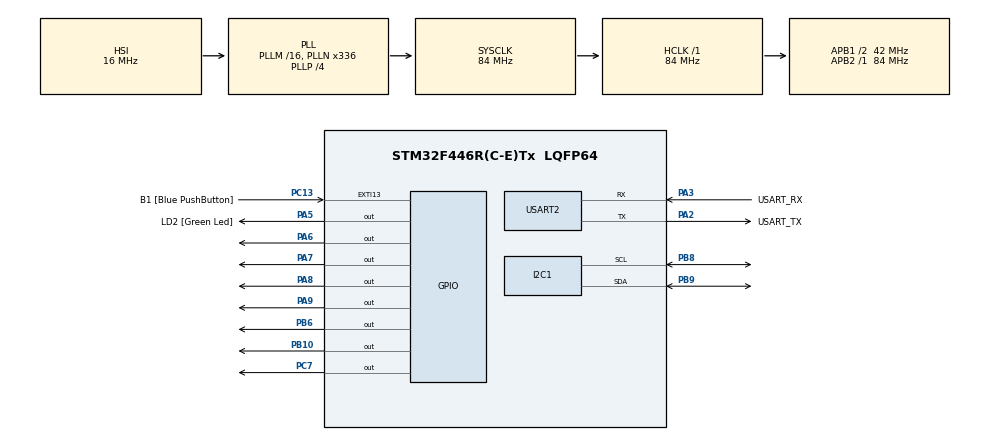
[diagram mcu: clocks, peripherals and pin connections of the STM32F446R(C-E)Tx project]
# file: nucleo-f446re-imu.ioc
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FREERTOS.Tasks01=lcdTask,1,128,startLCDTask,Default,NULL,Dynamic,NULL,NULL;imuTask,0,128,startIMUTask,Default,NULL,Dynamic,NULL,NULL;uartTask,0,128,startUARTTask,Default,NULL,Dynamic,NULL,NULL
FREERTOS.configENABLE_FPU=1
Mcu.Family=STM32F4
Mcu.Name=STM32F446R(C-E)Tx
Mcu.Package=LQFP64
NVIC.PriorityGroup=NVIC_PRIORITYGROUP_4
NVIC.TIM6_DAC_IRQn=true\:15\:0\:false\:false\:true\:false\:false\:true\:true
NVIC.TimeBase=TIM6_DAC_IRQn
NVIC.TimeBaseIP=TIM6
PA13.GPIO_Label=TMS
PA13.Mode=Serial_Wire
PA13.Signal=SYS_JTMS-SWDIO
PA14.GPIO_Label=TCK
PA14.Mode=Serial_Wire
PA14.Signal=SYS_JTCK-SWCLK
PA2.GPIO_Label=USART_TX
PA2.Mode=Asynchronous
PA2.Signal=USART2_TX
PA3.GPIO_Label=USART_RX
PA3.Mode=Asynchronous
PA3.Signal=USART2_RX
PA5.GPIO_Label=LD2 [Green Led]
PA5.Signal=GPIO_Output
PA6.Signal=GPIO_Output
PA7.Signal=GPIO_Output
PA8.Signal=GPIO_Output
PA9.Signal=GPIO_Output
PB10.Signal=GPIO_Output
PB3.GPIO_Label=SWO
PB3.Signal=SYS_JTDO-SWO
PB6.Signal=GPIO_Output
PB8.Mode=I2C
PB8.Signal=I2C1_SCL
PB9.Mode=I2C
PB9.Signal=I2C1_SDA
PC13.GPIO_Label=B1 [Blue PushButton]
PC13.GPIO_ModeDefaultEXTI=GPIO_MODE_IT_FALLING
PC13.Signal=GPXTI13
PC14-OSC32_IN.Mode=LSE-External-Oscillator
PC14-OSC32_IN.Signal=RCC_OSC32_IN
PC15-OSC32_OUT.Mode=LSE-External-Oscillator
PC15-OSC32_OUT.Signal=RCC_OSC32_OUT
PC7.Signal=GPIO_Output
PH0-OSC_IN.Mode=HSE-External-Oscillator
PH0-OSC_IN.Signal=RCC_OSC_IN
PH1-OSC_OUT.Mode=HSE-External-Oscillator
PH1-OSC_OUT.Signal=RCC_OSC_OUT
ProjectManager.HeapSize=0x200
ProjectManager.StackSize=0x400
ProjectManager.TargetToolchain=STM32CubeIDE
RCC.48MHZClocksFreq_Value=84000000
RCC.AHBFreq_Value=84000000
RCC.APB1CLKDivider=RCC_HCLK_DIV2
RCC.APB1Freq_Value=42000000
RCC.APB1TimFreq_Value=84000000
RCC.APB2Freq_Value=84000000
RCC.APB2TimFreq_Value=84000000
RCC.CortexFreq_Value=84000000
RCC.FLatency-AdvancedSettings=FLASH_LATENCY_2
RCC.HCLKFreq_Value=84000000
RCC.HSE_VALUE=8000000
RCC.HSI_VALUE=16000000
RCC.PLLN=336
RCC.PLLP=RCC_PLLP_DIV4
RCC.SYSCLKFreq_VALUE=84000000
RCC.SYSCLKSource=RCC_SYSCLKSOURCE_PLLCLK
RCC.USBFreq_Value=168000000
RCC.VCOOutputFreq_Value=336000000
TIM1.Period=0xFFFF-1
TIM1.Prescaler=84-1
USART2.VirtualMode=VM_ASYNC
VP_FREERTOS_VS_CMSIS_V1.Mode=CMSIS_V1
VP_SYS_VS_tim6.Mode=TIM6
VP_TIM1_VS_ClockSourceINT.Mode=Internal
board=NUCLEO-F446RE

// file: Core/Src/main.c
/* USER CODE BEGIN Header */
/**
  ******************************************************************************
  * @file           : main.c
  * @brief          : Main program body
  ******************************************************************************
  * @attention
  *
  * Copyright (c) 2024 STMicroelectronics.
  * All rights reserved.
  *
  * This software is licensed under terms that can be found in the LICENSE file
  * in the root directory of this software component.
  * If no LICENSE file comes with this software, it is provided AS-IS.
  *
  ******************************************************************************
  */
/* USER CODE END Header */
#include "main.h"
//#include "cmsis_os.h"

/* USER CODE BEGIN Includes */
#include <string.h>
#include <stdio.h>
#include <LCD1602.h>
#include <MPU6050.h>
#include <stdbool.h>

#include "FreeRTOS.h"
#include "task.h"
#include "timers.h"
#include "queue.h"
#include "semphr.h"
#include "event_groups.h"
/* USER CODE END Includes */

I2C_HandleTypeDef hi2c1;

TIM_HandleTypeDef htim1;

UART_HandleTypeDef huart2;

void SystemClock_Config(void);
static void MX_GPIO_Init(void);
static void MX_USART2_UART_Init(void);
static void MX_I2C1_Init(void);
static void MX_TIM1_Init(void);

/* USER CODE BEGIN 0 */

//~~~~~~~~~~~~~~~~~~~~~~~~~~~~~~~~~~~~~~~~~~~
// Queue Handler
//~~~~~~~~~~~~~~~~~~~~~~~~~~~~~~~~~~~~~~~~~~~
xQueueHandle St_Queue_Handler;
//~~~~~~~~~~~~~~~~~~~~~~~~~~~~~~~~~~~~~~~~~~~
// Task Handlers
//~~~~~~~~~~~~~~~~~~~~~~~~~~~~~~~~~~~~~~~~~~~
xTaskHandle IMU_Measure_Task_Handler;
xTaskHandle LCD_Display_Task_Handler;
xTaskHandle Initialisation_Task_Handler;
//xTaskHandle UART_Display_Task_Handler;
//~~~~~~~~~~~~~~~~~~~~~~~~~~~~~~~~~~~~~~~~~~~
// Task Functions
//~~~~~~~~~~~~~~~~~~~~~~~~~~~~~~~~~~~~~~~~~~~
void IMU_Measure_Task(void *argument);
void LCD_Display_Task(void *argument);
void Initialisation_Task(void *argument);
//void UART_Display_Task(void *argument);

// malloc and free wrappers to avoid issues with sprintf
void *malloc( size_t xBytes )
{
     return pvPortMalloc( xBytes );
}

void free( void *pvBuffer )
{
     vPortFree( pvBuffer );
}
/* USER CODE END 0 */

int main(void)
{

  /* MCU Configuration--------------------------------------------------------*/

  /* Reset of all peripherals, Initializes the Flash interface and the Systick. */
  HAL_Init();

  /* Configure the system clock */
  SystemClock_Config();

  /* Initialize all configured peripherals */
  MX_GPIO_Init();
  MX_USART2_UART_Init();
  MX_I2C1_Init();
  MX_TIM1_Init();
  /* USER CODE BEGIN 2 */
  // ~~~~~~~~~~~~~~~~~~~~~~~~~~~~~~~~~~~~~~~~~~~~~~~~~~~~~~~~~~~~~~~~~~~~~~~~~~~~~~~~~~~~~~~~~~~~~~~~~~~~~~~~~~~~~~~~~
  // FreeRTOS Setup BEGIN
  // ~~~~~~~~~~~~~~~~~~~~~~~~~~~~~~~~~~~~~~~~~~~~~~~~~~~~~~~~~~~~~~~~~~~~~~~~~~~~~~~~~~~~~~~~~~~~~~~~~~~~~~~~~~~~~~~~~
	// Create Queue
	St_Queue_Handler = xQueueCreate(2, sizeof(MPU6050_Values));
	// Error Handling for queue creation
	if(St_Queue_Handler == 0){
	  char *str = "Structured Queue creation failed!\n";
	  HAL_UART_Transmit(&huart2, (uint8_t *)str, strlen(str), HAL_MAX_DELAY);
	} else {
	  char *str = "Structured Queue creation successful!\n";
	  HAL_UART_Transmit(&huart2, (uint8_t *)str, strlen(str), HAL_MAX_DELAY);
	}
	// Initialisation Task
	BaseType_t xReturnValue; // Return value for task creation
	// Initialisation_Task Creation
	xReturnValue = xTaskCreate(Initialisation_Task, "Initialisation", 128, NULL, 2, &Initialisation_Task_Handler);
	if(xReturnValue == pdPASS){
	  char *str = "Initialisation task was successfully created!\n";
	  HAL_UART_Transmit(&huart2, (uint8_t *)str, strlen(str), HAL_MAX_DELAY);
	} else {
	  char *str = "Failed to create Initialisation Task!\n";
	  HAL_UART_Transmit(&huart2, (uint8_t *)str, strlen(str), HAL_MAX_DELAY);
	}
	// Scheduler Start
	vTaskStartScheduler();
  // ~~~~~~~~~~~~~~~~~~~~~~~~~~~~~~~~~~~~~~~~~~~~~~~~~~~~~~~~~~~~~~~~~~~~~~~~~~~~~~~~~~~~~~~~~~~~~~~~~~~~~~~~~~~~~~~~~
  // FreeRTOS Setup END
  // ~~~~~~~~~~~~~~~~~~~~~~~~~~~~~~~~~~~~~~~~~~~~~~~~~~~~~~~~~~~~~~~~~~~~~~~~~~~~~~~~~~~~~~~~~~~~~~~~~~~~~~~~~~~~~~~~~
  /* USER CODE END 2 */

  /* We should never get here as control is now taken by the scheduler */
  /* Infinite loop */
  while (1)
  {

  }
}

void SystemClock_Config(void)
{
  RCC_OscInitTypeDef RCC_OscInitStruct = {0};
  RCC_ClkInitTypeDef RCC_ClkInitStruct = {0};

  /** Configure the main internal regulator output voltage
  */
  __HAL_RCC_PWR_CLK_ENABLE();
  __HAL_PWR_VOLTAGESCALING_CONFIG(PWR_REGULATOR_VOLTAGE_SCALE3);

  /** Initializes the RCC Oscillators according to the specified parameters
  * in the RCC_OscInitTypeDef structure.
  */
  RCC_OscInitStruct.OscillatorType = RCC_OSCILLATORTYPE_HSI;
  RCC_OscInitStruct.HSIState = RCC_HSI_ON;
  RCC_OscInitStruct.HSICalibrationValue = RCC_HSICALIBRATION_DEFAULT;
  RCC_OscInitStruct.PLL.PLLState = RCC_PLL_ON;
  RCC_OscInitStruct.PLL.PLLSource = RCC_PLLSOURCE_HSI;
  RCC_OscInitStruct.PLL.PLLM = 16;
  RCC_OscInitStruct.PLL.PLLN = 336;
  RCC_OscInitStruct.PLL.PLLP = RCC_PLLP_DIV4;
  RCC_OscInitStruct.PLL.PLLQ = 2;
  RCC_OscInitStruct.PLL.PLLR = 2;
  if (HAL_RCC_OscConfig(&RCC_OscInitStruct) != HAL_OK)
  {
    Error_Handler();
  }

  /** Initializes the CPU, AHB and APB buses clocks
  */
  RCC_ClkInitStruct.ClockType = RCC_CLOCKTYPE_HCLK|RCC_CLOCKTYPE_SYSCLK
                              |RCC_CLOCKTYPE_PCLK1|RCC_CLOCKTYPE_PCLK2;
  RCC_ClkInitStruct.SYSCLKSource = RCC_SYSCLKSOURCE_PLLCLK;
  RCC_ClkInitStruct.AHBCLKDivider = RCC_SYSCLK_DIV1;
  RCC_ClkInitStruct.APB1CLKDivider = RCC_HCLK_DIV2;
  RCC_ClkInitStruct.APB2CLKDivider = RCC_HCLK_DIV1;

  if (HAL_RCC_ClockConfig(&RCC_ClkInitStruct, FLASH_LATENCY_2) != HAL_OK)
  {
    Error_Handler();
  }
}

static void MX_I2C1_Init(void)
{

  hi2c1.Instance = I2C1;
  hi2c1.Init.ClockSpeed = 100000;
  hi2c1.Init.DutyCycle = I2C_DUTYCYCLE_2;
  hi2c1.Init.OwnAddress1 = 0;
  hi2c1.Init.AddressingMode = I2C_ADDRESSINGMODE_7BIT;
  hi2c1.Init.DualAddressMode = I2C_DUALADDRESS_DISABLE;
  hi2c1.Init.OwnAddress2 = 0;
  hi2c1.Init.GeneralCallMode = I2C_GENERALCALL_DISABLE;
  hi2c1.Init.NoStretchMode = I2C_NOSTRETCH_DISABLE;
  if (HAL_I2C_Init(&hi2c1) != HAL_OK)
  {
    Error_Handler();
  }

}

static void MX_TIM1_Init(void)
{

  TIM_ClockConfigTypeDef sClockSourceConfig = {0};
  TIM_MasterConfigTypeDef sMasterConfig = {0};

  htim1.Instance = TIM1;
  htim1.Init.Prescaler = 84-1;
  htim1.Init.CounterMode = TIM_COUNTERMODE_UP;
  htim1.Init.Period = 0xFFFF-1;
  htim1.Init.ClockDivision = TIM_CLOCKDIVISION_DIV1;
  htim1.Init.RepetitionCounter = 0;
  htim1.Init.AutoReloadPreload = TIM_AUTORELOAD_PRELOAD_DISABLE;
  if (HAL_TIM_Base_Init(&htim1) != HAL_OK)
  {
    Error_Handler();
  }
  sClockSourceConfig.ClockSource = TIM_CLOCKSOURCE_INTERNAL;
  if (HAL_TIM_ConfigClockSource(&htim1, &sClockSourceConfig) != HAL_OK)
  {
    Error_Handler();
  }
  sMasterConfig.MasterOutputTrigger = TIM_TRGO_RESET;
  sMasterConfig.MasterSlaveMode = TIM_MASTERSLAVEMODE_DISABLE;
  if (HAL_TIMEx_MasterConfigSynchronization(&htim1, &sMasterConfig) != HAL_OK)
  {
    Error_Handler();
  }

}

static void MX_USART2_UART_Init(void)
{

  huart2.Instance = USART2;
  huart2.Init.BaudRate = 115200;
  huart2.Init.WordLength = UART_WORDLENGTH_8B;
  huart2.Init.StopBits = UART_STOPBITS_1;
  huart2.Init.Parity = UART_PARITY_NONE;
  huart2.Init.Mode = UART_MODE_TX_RX;
  huart2.Init.HwFlowCtl = UART_HWCONTROL_NONE;
  huart2.Init.OverSampling = UART_OVERSAMPLING_16;
  if (HAL_UART_Init(&huart2) != HAL_OK)
  {
    Error_Handler();
  }

}

static void MX_GPIO_Init(void)
{
  GPIO_InitTypeDef GPIO_InitStruct = {0};

  /* GPIO Ports Clock Enable */
  __HAL_RCC_GPIOC_CLK_ENABLE();
  __HAL_RCC_GPIOH_CLK_ENABLE();
  __HAL_RCC_GPIOA_CLK_ENABLE();
  __HAL_RCC_GPIOB_CLK_ENABLE();

  /*Configure GPIO pin Output Level */
  HAL_GPIO_WritePin(GPIOA, LD2_Pin|GPIO_PIN_6|GPIO_PIN_7|GPIO_PIN_8
                          |GPIO_PIN_9, GPIO_PIN_RESET);

  /*Configure GPIO pin Output Level */
  HAL_GPIO_WritePin(GPIOB, GPIO_PIN_10|GPIO_PIN_6, GPIO_PIN_RESET);

  /*Configure GPIO pin Output Level */
  HAL_GPIO_WritePin(GPIOC, GPIO_PIN_7, GPIO_PIN_RESET);

  /*Configure GPIO pin : B1_Pin */
  GPIO_InitStruct.Pin = B1_Pin;
  GPIO_InitStruct.Mode = GPIO_MODE_IT_FALLING;
  GPIO_InitStruct.Pull = GPIO_NOPULL;
  HAL_GPIO_Init(B1_GPIO_Port, &GPIO_InitStruct);

  /*Configure GPIO pins : LD2_Pin PA6 PA7 PA8
                           PA9 */
  GPIO_InitStruct.Pin = LD2_Pin|GPIO_PIN_6|GPIO_PIN_7|GPIO_PIN_8
                          |GPIO_PIN_9;
  GPIO_InitStruct.Mode = GPIO_MODE_OUTPUT_PP;
  GPIO_InitStruct.Pull = GPIO_NOPULL;
  GPIO_InitStruct.Speed = GPIO_SPEED_FREQ_LOW;
  HAL_GPIO_Init(GPIOA, &GPIO_InitStruct);

  /*Configure GPIO pins : PB10 PB6 */
  GPIO_InitStruct.Pin = GPIO_PIN_10|GPIO_PIN_6;
  GPIO_InitStruct.Mode = GPIO_MODE_OUTPUT_PP;
  GPIO_InitStruct.Pull = GPIO_NOPULL;
  GPIO_InitStruct.Speed = GPIO_SPEED_FREQ_LOW;
  HAL_GPIO_Init(GPIOB, &GPIO_InitStruct);

  /*Configure GPIO pin : PC7 */
  GPIO_InitStruct.Pin = GPIO_PIN_7;
  GPIO_InitStruct.Mode = GPIO_MODE_OUTPUT_PP;
  GPIO_InitStruct.Pull = GPIO_NOPULL;
  GPIO_InitStruct.Speed = GPIO_SPEED_FREQ_LOW;
  HAL_GPIO_Init(GPIOC, &GPIO_InitStruct);

}

/* USER CODE BEGIN 4 */
// ~~~~~~~~~~~~~~~~~~~~~~~~~~~~~~~~~~~~~~~~~~~~~~~~~~~~~~~~~~~~~~~~~~~~~~~~~~~~~~~~~~~~~~~~~~~~~~~~~~~~~~~~~~~~~~~~~
// FreeRTOS Task Definitions BEGIN
// ~~~~~~~~~~~~~~~~~~~~~~~~~~~~~~~~~~~~~~~~~~~~~~~~~~~~~~~~~~~~~~~~~~~~~~~~~~~~~~~~~~~~~~~~~~~~~~~~~~~~~~~~~~~~~~~~~
void IMU_Measure_Task (void *argument){
	// Pointer to the sensor values struct
	MPU6050_Values *sensorValues;

	// Convert ms delay to ticks
	const TickType_t tickDelay = pdMS_TO_TICKS(1000);
	char *str;

	/* Infinite loop */
	for(;;)
	{
		// Returns the remaining stack space (in words) that available to the task since task execution
		// 	- Therefore multiply by 4 for a 32-bit machine to get bytes
		UBaseType_t stackHighWaterMark;
		stackHighWaterMark = uxTaskGetStackHighWaterMark(NULL);

		// Check how much free heap memory there is (in bytes) before allocating more space
		size_t freeHeap;
		freeHeap = xPortGetFreeHeapSize();

		// Allocate memory in the 'Portable Layer' of the FreeRTOS
		//	- Returns a pointer of type void which can be cast into a pointer of any form
		sensorValues = pvPortMalloc(sizeof(MPU6050_Values));

		// Prevent heap overflow by checking the output of pvPortMalloc
		if(sensorValues == NULL){
			str = "Out of Heap Space!";
			HAL_UART_Transmit(&huart2, (uint8_t *)str, strlen(str), HAL_MAX_DELAY);
		}
		// Get the sensor values from the MPU6050 module
		MPU6050_Read_Sensor_Values(sensorValues);
		// Post the sensor data to the queue. The item is queued by copy, not by reference
		//		BaseType_t xQueueSend(
		//				QueueHandle_t xQueue, - handle to the queue
		//				const void * pvItemToQueue, - pointer to the item to be placed on the queue
		//				TickType_t xTicksToWait - max amount of time the task should block waiting for available space on the queue
		//		);
		BaseType_t xReturnValue; // Return value for queue send
		xReturnValue = xQueueSend(St_Queue_Handler, &sensorValues, pdMS_TO_TICKS(2000));

		if(xReturnValue == pdTRUE){
		  str = "Queue Post!\r\n";
		  HAL_UART_Transmit(&huart2, (uint8_t *)str, strlen(str), HAL_MAX_DELAY);
		} else {
		  str = "Failed to post!\r\n";
		  HAL_UART_Transmit(&huart2, (uint8_t *)str, strlen(str), HAL_MAX_DELAY);

		  vPortFree(sensorValues); // free the memory that failed to be added to the queue
		}
		vTaskDelay(tickDelay); // 1 second delay in ticks
	}
	// Fallback cleanup of thread in case forever loop was exited accidentally
	vTaskDelete(IMU_Measure_Task_Handler);
}

void LCD_Display_Task (void *argument){
	// Pointer to the sensor values struct to receive the queue data
	MPU6050_Values *rcv_sensorValues;
	// Convert ms delay to ticks
	const TickType_t tickDelay = pdMS_TO_TICKS(1000);
	// Char pointer for string to write to lcd
	char *dataString;

	// Char pointer for string to write to UART
//	char *str;

	/* Infinite loop */
	for(;;)
	{
		// Allocate memory in the 'Portable Layer' of the FreeRTOS
		//	- Returns a pointer of type void which can be cast into a pointer of any form
		//	- NB: Memory must be allocated like this otherwise sprintf will cause a hard fault error
//		str = pvPortMalloc(sizeof(char) * 50);
		// Receive the sensor data from the queue, received by copy so a buffer of adequate size must be provided
		//		BaseType_t xQueueReceive(
		//				QueueHandle_t xQueue, - handle to the queue
		//				void *pvBuffer, - pointer to the buffer to store the received item
		//				TickType_t xTicksToWait - max amount of time the task should block waiting for an item to receive
		//										  in the case of an empty queue
		//		);
		BaseType_t xReturnValue; // Return value for queue send
		xReturnValue = xQueueReceive(St_Queue_Handler, &rcv_sensorValues, pdMS_TO_TICKS(1000));

		if(xReturnValue == pdTRUE){
			char *str = "Successfully received sensor data from the queue!\r\n";
			HAL_UART_Transmit(&huart2, (uint8_t *)str, strlen(str), HAL_MAX_DELAY);

			// Allocate memory in the 'Portable Layer' of the FreeRTOS
			//	- Returns a pointer of type void which can be cast into a pointer of any form
			//	- NB: Memory must be allocated like this otherwise sprintf will cause a hard fault error
			dataString = pvPortMalloc(sizeof(char) * 15);

			// Display the MPU6050 accelerometer readings on the LCD1602 module
			sprintf(dataString, "Ax%.2f Ay%.2f", rcv_sensorValues->accel_x, rcv_sensorValues->accel_y);
			HAL_UART_Transmit(&huart2, (uint8_t *)dataString, strlen(dataString), HAL_MAX_DELAY);
			LCD_SendString(dataString);
			LCD_PlaceCursor(1, 5);
			sprintf(dataString, "Az%.2f", rcv_sensorValues->accel_z);
			HAL_UART_Transmit(&huart2, (uint8_t *)dataString, strlen(dataString), HAL_MAX_DELAY);
			LCD_SendString(dataString);
			vTaskDelay(tickDelay); // 1 second delay in ticks to be able to see the data before clearing and writing new data
			LCD_Clear();
			// Display the MPU6050 gyroscope readings on the LCD1602 module
			sprintf(dataString, "Gx%.2f Gy%.2f", rcv_sensorValues->gyro_x, rcv_sensorValues->gyro_y);
			HAL_UART_Transmit(&huart2, (uint8_t *)dataString, strlen(dataString), HAL_MAX_DELAY);
			LCD_SendString(dataString);
			LCD_PlaceCursor(1, 5);
			sprintf(dataString, "Gz%.2f", rcv_sensorValues->gyro_z);
			HAL_UART_Transmit(&huart2, (uint8_t *)dataString, strlen(dataString), HAL_MAX_DELAY);
			LCD_SendString(dataString);
			vTaskDelay(tickDelay); // 1 second delay in ticks to be able to see the data before clearing and writing new data
			LCD_Clear();
		} else {
		  char *str = "Failed to receive sensor data from the queue!\r\n";
		  HAL_UART_Transmit(&huart2, (uint8_t *)str, strlen(str), HAL_MAX_DELAY);
		}
		// Freeing memory
		vPortFree(rcv_sensorValues); // The sensor data struct pointer received from the queue
		// Freeing memory
		vPortFree(dataString); // Data string
		// Freeing memory
//		vPortFree(str); // UART string
	}
	// Fallback cleanup of thread in case forever loop was exited accidentally
	vTaskDelete(LCD_Display_Task_Handler);
}

void Initialisation_Task (void *argument){
	// ~~~~~~~~~~~~~~~~~~~~~~~~~~~~~~~~~~~~~~~~~~~~~~~~~~~~~~~~~~~~~~~~~~~~~~~~~~~~~~~~~~~~~~~~~~~~~~~~~~~~~~~~~~~~~~~~~
	// LCD Setup BEGIN
	// ~~~~~~~~~~~~~~~~~~~~~~~~~~~~~~~~~~~~~~~~~~~~~~~~~~~~~~~~~~~~~~~~~~~~~~~~~~~~~~~~~~~~~~~~~~~~~~~~~~~~~~~~~~~~~~~~~
	// Start Timer 1 before initialising the LCD1602 module
	HAL_TIM_Base_Start(&htim1);
	// Initialise the LCD1602 module
	LCD_Initialise();
	// Char pointer for string to write to UART
	char *str;

	// Allocate memory in the 'Portable Layer' of the FreeRTOS
	//	- Returns a pointer of type void which can be cast into a pointer of any form
	//	- NB: Memory must be allocated like this otherwise sprintf will cause a hard fault error
	str = pvPortMalloc(sizeof(char) * 50);

	HAL_UART_Transmit(&huart2, (uint8_t *)str, strlen(str), HAL_MAX_DELAY);
	// Place the Cursor at (0,0)
	LCD_PlaceCursor(0, 0);
	// Display a message to show that the LCD1602 module has been initialised
	LCD_SendString("LCD Initialised");
	//  HAL_Delay(3000);
	// Convert ms delay to ticks
	const TickType_t tickDelay = pdMS_TO_TICKS(3000);
	vTaskDelay(tickDelay);
	LCD_Clear();
	// ~~~~~~~~~~~~~~~~~~~~~~~~~~~~~~~~~~~~~~~~~~~~~~~~~~~~~~~~~~~~~~~~~~~~~~~~~~~~~~~~~~~~~~~~~~~~~~~~~~~~~~~~~~~~~~~~~
	// LCD Setup END
	// ~~~~~~~~~~~~~~~~~~~~~~~~~~~~~~~~~~~~~~~~~~~~~~~~~~~~~~~~~~~~~~~~~~~~~~~~~~~~~~~~~~~~~~~~~~~~~~~~~~~~~~~~~~~~~~~~~
	// ~~~~~~~~~~~~~~~~~~~~~~~~~~~~~~~~~~~~~~~~~~~~~~~~~~~~~~~~~~~~~~~~~~~~~~~~~~~~~~~~~~~~~~~~~~~~~~~~~~~~~~~~~~~~~~~~~
	// MPU6050 Setup BEGIN
	// ~~~~~~~~~~~~~~~~~~~~~~~~~~~~~~~~~~~~~~~~~~~~~~~~~~~~~~~~~~~~~~~~~~~~~~~~~~~~~~~~~~~~~~~~~~~~~~~~~~~~~~~~~~~~~~~~~
	// Initialise the MPU6050 IMU
	MPU6050_Initialisation_Status status = MPU6050_Init();
	// Error Handling
	switch(status){
	  case INIT_SUCCESS:
		  LCD_SendString("MPU6050 Ready!");
		  vTaskDelay(pdMS_TO_TICKS(3000));
		  LCD_Clear();
		  strcpy(str, "Successful Initialisation of MPU6050!\n");
		  break;
	  case WRONG_DEVICE:
		  strcpy(str, "Wrong device found!\n");
		  break;
	  case DEVICE_NOT_FOUND:
		  strcpy(str, "Error finding device!\n");
		  break;
	  case DEVICE_ASLEEP:
		  strcpy(str, "Error waking up the device!\n");
		  break;
	  case ERROR_SMPLRT_DIV:
		  strcpy(str, "Error setting the Sample Rate Divider!\n");
		  break;
	  case ERROR_GYRO_CONFIG:
		  strcpy(str, "Error configuring the gyroscope full scale range!\n");
		  break;
	  case ERROR_ACC_CONFIG:
		  strcpy(str, "Error configuring the accelerometer full scale range!\n");
		  break;
	  default:
		  strcpy(str, "Unknown error case!\n");
		  break;
	};
	// Transmit the status of the MPU6050 initialisation
	HAL_UART_Transmit(&huart2, (uint8_t *)str, strlen(str), HAL_MAX_DELAY);
	// ~~~~~~~~~~~~~~~~~~~~~~~~~~~~~~~~~~~~~~~~~~~~~~~~~~~~~~~~~~~~~~~~~~~~~~~~~~~~~~~~~~~~~~~~~~~~~~~~~~~~~~~~~~~~~~~~~
	// MPU6050 Setup END
	// ~~~~~~~~~~~~~~~~~~~~~~~~~~~~~~~~~~~~~~~~~~~~~~~~~~~~~~~~~~~~~~~~~~~~~~~~~~~~~~~~~~~~~~~~~~~~~~~~~~~~~~~~~~~~~~~~~
	// Create Tasks
	// BaseType_t xTaskCreate(
	  //  TaskFunction_t pvTaskCode, - Pointer to the task entry function
	  //  const char * const pcName, - Descriptive name for the task
	  //  const configSTACK_DEPTH_TYPE uxStackDepth, - Stack depth in words to allocate for use as task's stack
	  //  void *pvParameters, - value passed as parameter to the created task
	  //  UBaseType_t uxPriority, - priority at which the created task will execute
	  //  TaskHandle_t *pxCreatedTask - used to pass a handle to the created task, optional and can be NULL
	//);
	BaseType_t xReturnValue; // Return value for task creation
	// IMU_Measure_Task Creation
	xReturnValue = xTaskCreate(IMU_Measure_Task, "IMU_Measure", 300, NULL, 2, &IMU_Measure_Task_Handler);
	if(xReturnValue == pdPASS){
		strcpy(str, "IMU_Measure task was successfully created!\n");
		HAL_UART_Transmit(&huart2, (uint8_t *)str, strlen(str), HAL_MAX_DELAY);
	} else {
		strcpy(str, "Failed to create IMU_Measure task!\n");
		HAL_UART_Transmit(&huart2, (uint8_t *)str, strlen(str), HAL_MAX_DELAY);
	}
	// LCD_Display_Task Creation
	xReturnValue = xTaskCreate(LCD_Display_Task, "LCD_Display", 300, NULL, 3, &LCD_Display_Task_Handler);
	if(xReturnValue == pdPASS){
		strcpy(str, "LCD_Display task was successfully created!\n");
		HAL_UART_Transmit(&huart2, (uint8_t *)str, strlen(str), HAL_MAX_DELAY);
	} else {
		strcpy(str, "Failed to create LCD_Display task!\n");
		HAL_UART_Transmit(&huart2, (uint8_t *)str, strlen(str), HAL_MAX_DELAY);
	}
	// UART_Display_Task Creation
	//  xReturnValue = xTaskCreate(UART_Display_Task, "UART_Display", 128, NULL, 2, &UART_Display_Task_Handler);
	//  if(xReturnValue == pdPASS){
	//	  char *str = "UART_Display task was successfully created!\n\n";
	//	  HAL_UART_Transmit(&huart2, (uint8_t *)str, strlen(str), HAL_MAX_DELAY);
	//  } else {
	//	  char *str = "Failed to create UART_Display task!\n\n";
	//	  HAL_UART_Transmit(&huart2, (uint8_t *)str, strlen(str), HAL_MAX_DELAY);
	//  }
	// Freeing memory
	vPortFree(str); // UART string

	// Delete initialisation task as it is no longer needed
	vTaskDelete(Initialisation_Task_Handler);
}
// ~~~~~~~~~~~~~~~~~~~~~~~~~~~~~~~~~~~~~~~~~~~~~~~~~~~~~~~~~~~~~~~~~~~~~~~~~~~~~~~~~~~~~~~~~~~~~~~~~~~~~~~~~~~~~~~~~
// FreeRTOS Task Definitions END
// ~~~~~~~~~~~~~~~~~~~~~~~~~~~~~~~~~~~~~~~~~~~~~~~~~~~~~~~~~~~~~~~~~~~~~~~~~~~~~~~~~~~~~~~~~~~~~~~~~~~~~~~~~~~~~~~~~
/* USER CODE END 4 */
/* USER CODE BEGIN 5 */
///* USER CODE BEGIN Header_startUARTTask */
///**
//* @brief Function implementing the uartTask thread.
//* @param argument: Not used
//* @retval None
//*/
///* USER CODE END Header_startUARTTask */
//void startUARTTask(void const * argument)
//{
//  /* USER CODE BEGIN startUARTTask */
//  /* Infinite loop */
//  for(;;)
//  {
//	// Transmit the message(data or error) in blocking mode
//	// 	- Casting buffer as the function requires pointer to char array
//	HAL_UART_Transmit(&huart2, buf, strlen((char*)buf), HAL_MAX_DELAY);
//
//    osDelay(1000);
//  }
//  // Fallback cleanup of thread in case forever loop was exited accidentally
//  osThreadTerminate(NULL);
//  /* USER CODE END startUARTTask */
//}
/* USER CODE END 5 */
void HAL_TIM_PeriodElapsedCallback(TIM_HandleTypeDef *htim)
{
  if (htim->Instance == TIM6) {
    HAL_IncTick();
  }
}

void Error_Handler(void)
{
  __disable_irq();
  while (1)
  {
  }
}
